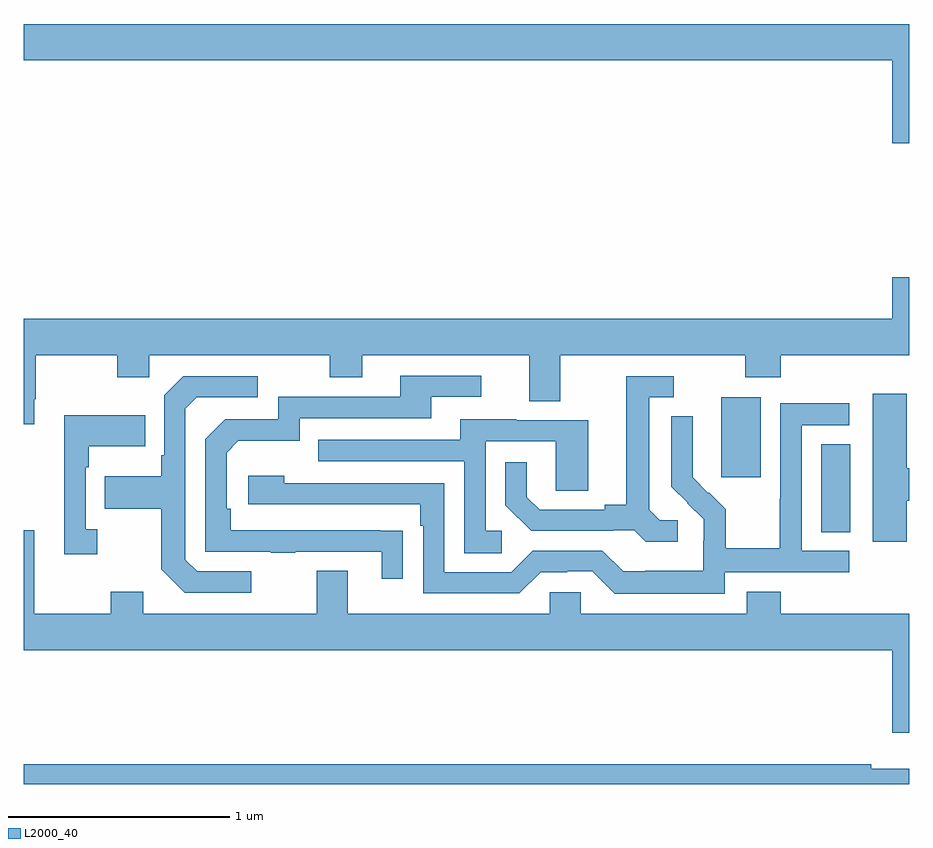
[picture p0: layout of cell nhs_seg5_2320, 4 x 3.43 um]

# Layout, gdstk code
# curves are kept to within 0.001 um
import gdstk
lib = gdstk.Library(unit=1e-6, precision=1e-09)
def R(c, l, rs):  # rectangles x0, y0, x1, y1
    for r in rs: c.add(gdstk.rectangle(r[:2], r[2:], *l))
def P(c, l, *ps):  # polygons
    for p in ps: c.add(gdstk.Polygon(p, *l))
L2000_40 = (2000, 40)

nhs_seg5_2320 = lib.new_cell('nhs_seg5_2320')
R(nhs_seg5_2320, L2000_40, [(248.603,879.937,248.734,880.334), (248.15,880.185,248.329,880.546)])
P(nhs_seg5_2320, L2000_40, [(249,882.232),(245,882.232),(245,882.068),(248.924,882.068),(248.924,881.694),(249,881.694)],
  [(245.047,880.537),(245.055,880.537),(245.055,880.736),(245.422,880.736),(245.422,880.637),(245.568,880.637),(245.568,880.736),(246.382,880.736),(246.382,880.637),(246.529,880.637),(246.529,880.736),(247.283,880.736),(247.283,880.528),(247.423,880.528),(247.423,880.736),(248.26,880.736),(248.26,880.637),(248.42,880.637),(248.42,880.736),(249,880.736),(249,881.089),(248.924,881.089),(248.924,880.9),(245,880.9),(245,880.425),(245.047,880.425)],
  [(246.713,879.944),(245.936,879.945),(245.936,880.042),(245.916,880.042),(245.916,880.296),(245.969,880.349),(246.246,880.349),(246.246,880.452),(246.841,880.452),(246.841,880.548),(247.066,880.548),(247.066,880.644),(246.701,880.644),(246.701,880.548),(246.15,880.548),(246.15,880.446),(245.91,880.446),(245.82,880.356),(245.82,879.849),(246.115,879.849),(246.115,879.844),(246.227,879.844),(246.227,879.849),(246.617,879.849),(246.617,879.726),(246.713,879.726)],
  [(246.028,879.759),(245.784,879.759),(245.73,879.813),(245.73,880.494),(245.781,880.545),(246.058,880.545),(246.058,880.641),(245.721,880.641),(245.634,880.554),(245.634,880.285),(245.622,880.285),(245.622,880.189),(245.365,880.189),(245.365,880.042),(245.622,880.042),(245.622,879.769),(245.727,879.663),(246.028,879.663)],
  [(247.954,879.99),(247.872,879.99),(247.825,880.037),(247.825,880.545),(247.936,880.545),(247.936,880.641),(247.721,880.641),(247.721,880.061),(247.625,880.061),(247.625,880.038),(247.33,880.038),(247.273,880.095),(247.273,880.252),(247.176,880.252),(247.176,880.058),(247.292,879.942),(247.664,879.942),(247.664,879.945),(247.758,879.945),(247.81,879.893),(247.954,879.893)],
  [(248.989,880.079),(249,880.079),(249,880.226),(248.989,880.226),(248.989,880.561),(248.834,880.561),(248.834,879.894),(248.989,879.894)],
  [(248.166,879.756),(248.728,879.756),(248.728,879.852),(248.514,879.852),(248.514,880.419),(248.728,880.419),(248.728,880.518),(248.418,880.518),(248.418,880.088),(248.416,880.088),(248.416,879.865),(248.171,879.865),(248.171,880.039),(248.094,880.116),(248.091,880.113),(248.021,880.184),(248.022,880.46),(247.926,880.46),(247.926,880.142),(248.072,879.994),(248.072,879.897),(248.07,879.897),(248.07,879.763),(247.807,879.763),(247.807,879.759),(247.707,879.759),(247.614,879.852),(247.299,879.852),(247.203,879.756),(246.9,879.756),(246.9,880.158),(246.176,880.158),(246.176,880.192),(246.015,880.192),(246.015,880.062),(246.791,880.062),(246.791,879.965),(246.804,879.965),(246.804,879.66),(247.239,879.66),(247.335,879.756),(247.454,879.756),(247.454,879.759),(247.569,879.759),(247.669,879.659),(248.166,879.659)],
  [(245.332,879.95),(245.28,879.95),(245.28,880.229),(245.293,880.229),(245.293,880.325),(245.549,880.325),(245.549,880.465),(245.183,880.465),(245.183,879.837),(245.332,879.837)],
  [(247.159,879.942),(247.086,879.942),(247.086,880.347),(247.404,880.347),(247.404,880.123),(247.549,880.123),(247.549,880.443),(247.225,880.443),(247.225,880.447),(246.971,880.447),(246.971,880.353),(246.331,880.353),(246.331,880.257),(246.99,880.257),(246.99,879.841),(247.159,879.841)],
  [(249,879.568),(248.42,879.568),(248.42,879.667),(248.267,879.667),(248.267,879.568),(247.515,879.568),(247.515,879.666),(247.377,879.666),(247.377,879.568),(246.463,879.568),(246.463,879.763),(246.323,879.763),(246.323,879.568),(245.539,879.568),(245.539,879.667),(245.392,879.667),(245.392,879.568),(245.047,879.568),(245.047,879.946),(245,879.946),(245,879.404),(248.924,879.404),(248.924,879.03),(249,879.03)],
  [(249,878.869),(248.828,878.869),(248.828,878.888),(245,878.888),(245,878.799),(249,878.799)])

lib.write_gds('nhs_seg5_2320.gds')
